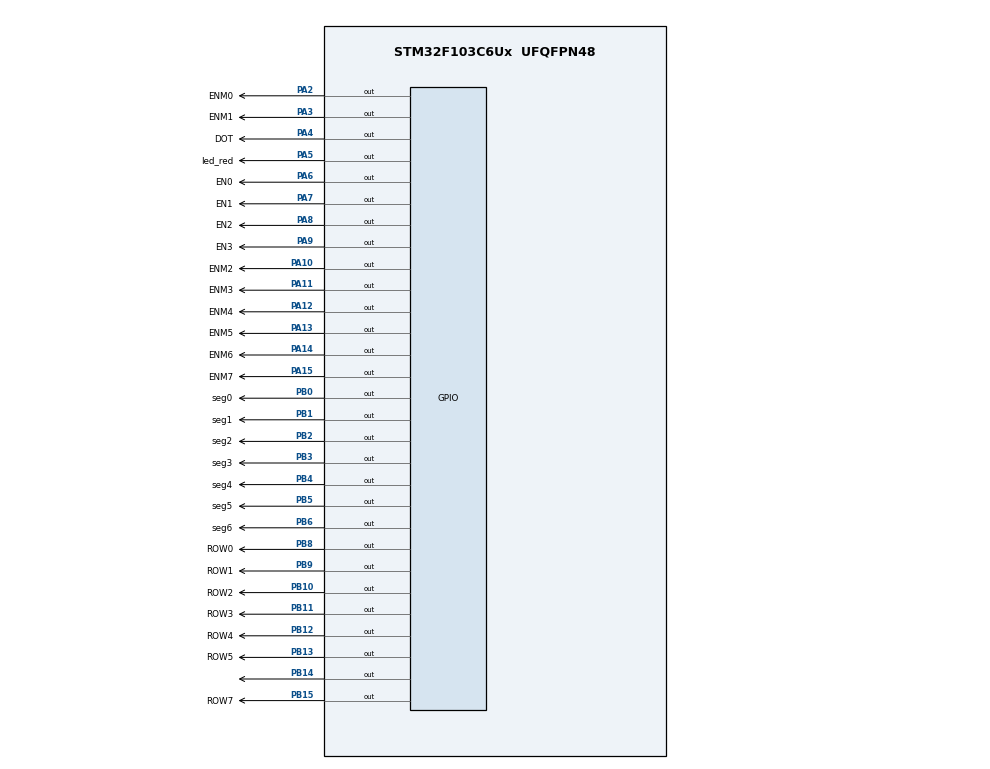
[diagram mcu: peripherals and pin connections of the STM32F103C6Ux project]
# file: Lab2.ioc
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Mcu.Family=STM32F1
Mcu.Name=STM32F103C6Ux
Mcu.Package=UFQFPN48
NVIC.PriorityGroup=NVIC_PRIORITYGROUP_4
NVIC.TIM2_IRQn=true\:0\:0\:false\:false\:true\:true\:true
PA10.GPIO_Label=ENM2
PA10.Signal=GPIO_Output
PA11.GPIO_Label=ENM3
PA11.Signal=GPIO_Output
PA12.GPIO_Label=ENM4
PA12.Signal=GPIO_Output
PA13.GPIO_Label=ENM5
PA13.Signal=GPIO_Output
PA14.GPIO_Label=ENM6
PA14.Signal=GPIO_Output
PA15.GPIO_Label=ENM7
PA15.Signal=GPIO_Output
PA2.GPIO_Label=ENM0
PA2.Signal=GPIO_Output
PA3.GPIO_Label=ENM1
PA3.Signal=GPIO_Output
PA4.GPIO_Label=DOT
PA4.Signal=GPIO_Output
PA5.GPIO_Label=led_red
PA5.Signal=GPIO_Output
PA6.GPIO_Label=EN0
PA6.Signal=GPIO_Output
PA7.GPIO_Label=EN1
PA7.Signal=GPIO_Output
PA8.GPIO_Label=EN2
PA8.Signal=GPIO_Output
PA9.GPIO_Label=EN3
PA9.Signal=GPIO_Output
PB0.GPIO_Label=seg0
PB0.Signal=GPIO_Output
PB1.GPIO_Label=seg1
PB1.Signal=GPIO_Output
PB10.GPIO_Label=ROW2
PB10.Signal=GPIO_Output
PB11.GPIO_Label=ROW3
PB11.Signal=GPIO_Output
PB12.GPIO_Label=ROW4
PB12.Signal=GPIO_Output
PB13.GPIO_Label=ROW5
PB13.Signal=GPIO_Output
PB14.Signal=GPIO_Output
PB15.GPIO_Label=ROW7
PB15.Signal=GPIO_Output
PB2.GPIO_Label=seg2
PB2.Signal=GPIO_Output
PB3.GPIO_Label=seg3
PB3.Signal=GPIO_Output
PB4.GPIO_Label=seg4
PB4.Signal=GPIO_Output
PB5.GPIO_Label=seg5
PB5.Signal=GPIO_Output
PB6.GPIO_Label=seg6
PB6.Signal=GPIO_Output
PB8.GPIO_Label=ROW0
PB8.Signal=GPIO_Output
PB9.GPIO_Label=ROW1
PB9.Signal=GPIO_Output
ProjectManager.HeapSize=0x200
ProjectManager.StackSize=0x400
ProjectManager.TargetToolchain=STM32CubeIDE
RCC.APB1Freq_Value=8000000
RCC.APB2Freq_Value=8000000
TIM2.Period=9
TIM2.Prescaler=7999
VP_SYS_VS_ND.Mode=No_Debug
VP_TIM2_VS_ClockSourceINT.Mode=Internal
board=custom

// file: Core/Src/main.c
/* USER CODE BEGIN Header */
/**
  ******************************************************************************
  * @file           : main.c
  * @brief          : Main program body
  ******************************************************************************
  * @attention
  *
  * <h2><center>&copy; Copyright (c) 2024 STMicroelectronics.
  * All rights reserved.</center></h2>
  *
  * This software component is licensed by ST under BSD 3-Clause license,
  * the "License"; You may not use this file except in compliance with the
  * License. You may obtain a copy of the License at:
  *                        opensource.org/licenses/BSD-3-Clause
  *
  ******************************************************************************
  */
/* USER CODE END Header */
#include "main.h"

/* USER CODE BEGIN Includes */
#include "ex1.h"
#include "ex3.h"
#include "ex5.h"
#include "ex6.h"
#include "ex9.h"
//#include "ex7.h"
/* USER CODE END Includes */

TIM_HandleTypeDef htim2;

void SystemClock_Config(void);
static void MX_GPIO_Init(void);
static void MX_TIM2_Init(void);

/* USER CODE BEGIN 0 */
//int time_flag = 0;
//int counter = 0;
//int counter_dot = 0;
//int time_flag_dot = 0;
//int time_flag_clock = 0;
//int counter_clock = 0;

enum DotState {OFF = 0, ON = 1};
enum DotState dot_status = OFF;
int counter = 25;
int timer_flag = 0;
int timer_counter_dot = 50;
int timer_flag_dot = 0;
int timer_counter_clock = 100;
int timer_flag_clock = 0;
int TIMER_CYCLE = 10;

int counter_led_matrix = 0;
int time_flag_led_matrix = 0;
const int MAX_LED = 4;
//int index_led = 0;
//int Led_buffer[4] = {1, 2, 3, 4};
//int hour = 15, minute = 8, second = 50;
//int TIMER_CYCLE = 1;
const int MAX_LED_MATRIX = 8;
int index_led_matrix = 0;
uint8_t matrix_buffer[8] = {0xFF, 0x03, 0x01, 0xCC, 0xCC, 0x01, 0x03, 0xFF};
/* USER CODE END 0 */

int main(void)
{

  /* MCU Configuration--------------------------------------------------------*/

  /* Reset of all peripherals, Initializes the Flash interface and the Systick. */
  HAL_Init();

  /* Configure the system clock */
  SystemClock_Config();

  /* Initialize all configured peripherals */
  MX_GPIO_Init();
  MX_TIM2_Init();
  /* USER CODE BEGIN 2 */
//  enum DotState {OFF = 0, ON = 1};
//  enum DotState dot_status = OFF;
  HAL_TIM_Base_Start_IT(&htim2);
//  setTimer(250);
//  setTimerClock(1000);
//  setTimerDot(500);
//  setTimerLedMatrix(5);
  /* USER CODE END 2 */

  /* Infinite loop */
  /* USER CODE BEGIN WHILE */
//  ex6_run();
  while (1)
  {
//	  /bai8
if (timer_flag == 1) {
				  updateClockBuffer();
				  update7seg(index_led++);
				  if (index_led > 3) index_led = 0;
//				  update7seg(index_led++);
				  setTimer(250);

			  }

		 if (timer_flag_clock == 1){
				  second++;
				  if ( second >= 60) {
					  second = 0;
					  minute ++;
				  }
				  if( minute >= 60) {
					   minute = 0;
					   hour ++;
				   }
				   if( hour >=24){
					   hour = 0;
				   }
//				   update7seg(idx++);
				  updateClockBuffer();
				  setTimerClock(1000);
			  }

			  switch (dot_status){
			  	  case OFF:
			  		  HAL_GPIO_WritePin(DOT_GPIO_Port, DOT_Pin, GPIO_PIN_SET);

			  		  if (timer_flag_dot == 1){
			  			  setTimerDot(500);
			  			  dot_status = ON;
			  		  }
				  break;

			  	  case ON:
			  		  HAL_GPIO_WritePin(DOT_GPIO_Port, DOT_Pin, GPIO_PIN_RESET);

			  		  if (timer_flag_dot == 1){
			  			  setTimerDot(500);
			  			  dot_status = OFF;
			  		  }
				  break;
			  }
//			  /bai8
	  /*second++;
	  if(second >= 60){
		  second = 0;
		  minute++;
	  }
	  if(minute >= 60){
		  minute = 0;
		  hour++;
	  }
	  if(hour >= 24) hour = 0;
	  updateClockBuffer();

	  if(time_flag == 1){
		  update7seg(index_led++);
		  time_flag = 0;
		  if (index_led > 3) index_led = 0;
		  counter = 100;
	  }

	  switch(dot_status){
	  	  case OFF:
	  		  HAL_GPIO_WritePin(DOT_GPIO_Port, DOT_Pin, GPIO_PIN_SET);
	  		  if(time_flag_dot == 1){
	  			  time_flag_dot = 0;
	  			  counter_dot = 50;
	  			  dot_status = ON;
	  		  }
	  		 break;
	  	  case ON:
	  		  HAL_GPIO_WritePin(DOT_GPIO_Port, DOT_Pin, GPIO_PIN_RESET);
	  		  if(time_flag_dot == 1){
	  			  time_flag_dot = 0;
	  			  counter_dot = 50;
	  			  dot_status = OFF;
	  		  }
	  		 break;
	  }
	  HAL_Delay(1000);*/
    /* USER CODE END WHILE */

  }
}

void SystemClock_Config(void)
{
  RCC_OscInitTypeDef RCC_OscInitStruct = {0};
  RCC_ClkInitTypeDef RCC_ClkInitStruct = {0};

  /** Initializes the RCC Oscillators according to the specified parameters
  * in the RCC_OscInitTypeDef structure.
  */
  RCC_OscInitStruct.OscillatorType = RCC_OSCILLATORTYPE_HSI;
  RCC_OscInitStruct.HSIState = RCC_HSI_ON;
  RCC_OscInitStruct.HSICalibrationValue = RCC_HSICALIBRATION_DEFAULT;
  RCC_OscInitStruct.PLL.PLLState = RCC_PLL_NONE;
  if (HAL_RCC_OscConfig(&RCC_OscInitStruct) != HAL_OK)
  {
    Error_Handler();
  }
  /** Initializes the CPU, AHB and APB buses clocks
  */
  RCC_ClkInitStruct.ClockType = RCC_CLOCKTYPE_HCLK|RCC_CLOCKTYPE_SYSCLK
                              |RCC_CLOCKTYPE_PCLK1|RCC_CLOCKTYPE_PCLK2;
  RCC_ClkInitStruct.SYSCLKSource = RCC_SYSCLKSOURCE_HSI;
  RCC_ClkInitStruct.AHBCLKDivider = RCC_SYSCLK_DIV1;
  RCC_ClkInitStruct.APB1CLKDivider = RCC_HCLK_DIV1;
  RCC_ClkInitStruct.APB2CLKDivider = RCC_HCLK_DIV1;

  if (HAL_RCC_ClockConfig(&RCC_ClkInitStruct, FLASH_LATENCY_0) != HAL_OK)
  {
    Error_Handler();
  }
}

static void MX_TIM2_Init(void)
{

  TIM_ClockConfigTypeDef sClockSourceConfig = {0};
  TIM_MasterConfigTypeDef sMasterConfig = {0};

  htim2.Instance = TIM2;
  htim2.Init.Prescaler = 7999;
  htim2.Init.CounterMode = TIM_COUNTERMODE_UP;
  htim2.Init.Period = 9;
  htim2.Init.ClockDivision = TIM_CLOCKDIVISION_DIV1;
  htim2.Init.AutoReloadPreload = TIM_AUTORELOAD_PRELOAD_DISABLE;
  if (HAL_TIM_Base_Init(&htim2) != HAL_OK)
  {
    Error_Handler();
  }
  sClockSourceConfig.ClockSource = TIM_CLOCKSOURCE_INTERNAL;
  if (HAL_TIM_ConfigClockSource(&htim2, &sClockSourceConfig) != HAL_OK)
  {
    Error_Handler();
  }
  sMasterConfig.MasterOutputTrigger = TIM_TRGO_RESET;
  sMasterConfig.MasterSlaveMode = TIM_MASTERSLAVEMODE_DISABLE;
  if (HAL_TIMEx_MasterConfigSynchronization(&htim2, &sMasterConfig) != HAL_OK)
  {
    Error_Handler();
  }

}

static void MX_GPIO_Init(void)
{
  GPIO_InitTypeDef GPIO_InitStruct = {0};

  /* GPIO Ports Clock Enable */
  __HAL_RCC_GPIOA_CLK_ENABLE();
  __HAL_RCC_GPIOB_CLK_ENABLE();

  /*Configure GPIO pin Output Level */
  HAL_GPIO_WritePin(GPIOA, ENM0_Pin|ENM1_Pin|DOT_Pin|led_red_Pin
                          |EN0_Pin|EN1_Pin|EN2_Pin|EN3_Pin
                          |ENM2_Pin|ENM3_Pin|ENM4_Pin|ENM5_Pin
                          |ENM6_Pin|ENM7_Pin, GPIO_PIN_RESET);

  /*Configure GPIO pin Output Level */
  HAL_GPIO_WritePin(GPIOB, seg0_Pin|seg1_Pin|seg2_Pin|ROW2_Pin
                          |ROW3_Pin|ROW4_Pin|ROW5_Pin|GPIO_PIN_14
                          |ROW7_Pin|seg3_Pin|seg4_Pin|seg5_Pin
                          |seg6_Pin|ROW0_Pin|ROW1_Pin, GPIO_PIN_RESET);

  /*Configure GPIO pins : ENM0_Pin ENM1_Pin DOT_Pin led_red_Pin
                           EN0_Pin EN1_Pin EN2_Pin EN3_Pin
                           ENM2_Pin ENM3_Pin ENM4_Pin ENM5_Pin
                           ENM6_Pin ENM7_Pin */
  GPIO_InitStruct.Pin = ENM0_Pin|ENM1_Pin|DOT_Pin|led_red_Pin
                          |EN0_Pin|EN1_Pin|EN2_Pin|EN3_Pin
                          |ENM2_Pin|ENM3_Pin|ENM4_Pin|ENM5_Pin
                          |ENM6_Pin|ENM7_Pin;
  GPIO_InitStruct.Mode = GPIO_MODE_OUTPUT_PP;
  GPIO_InitStruct.Pull = GPIO_NOPULL;
  GPIO_InitStruct.Speed = GPIO_SPEED_FREQ_LOW;
  HAL_GPIO_Init(GPIOA, &GPIO_InitStruct);

  /*Configure GPIO pins : seg0_Pin seg1_Pin seg2_Pin ROW2_Pin
                           ROW3_Pin ROW4_Pin ROW5_Pin PB14
                           ROW7_Pin seg3_Pin seg4_Pin seg5_Pin
                           seg6_Pin ROW0_Pin ROW1_Pin */
  GPIO_InitStruct.Pin = seg0_Pin|seg1_Pin|seg2_Pin|ROW2_Pin
                          |ROW3_Pin|ROW4_Pin|ROW5_Pin|GPIO_PIN_14
                          |ROW7_Pin|seg3_Pin|seg4_Pin|seg5_Pin
                          |seg6_Pin|ROW0_Pin|ROW1_Pin;
  GPIO_InitStruct.Mode = GPIO_MODE_OUTPUT_PP;
  GPIO_InitStruct.Pull = GPIO_NOPULL;
  GPIO_InitStruct.Speed = GPIO_SPEED_FREQ_LOW;
  HAL_GPIO_Init(GPIOB, &GPIO_InitStruct);

}

/* USER CODE BEGIN 4 */

void HAL_TIM_PeriodElapsedCallback(TIM_HandleTypeDef * htim)
{
	timerRun();
	timerRunDot();
	timerRunClock();
//	TimerRunLedMatrix();
//	counter--;
//	counter_dot--;
//
//	if(counter <= 0) time_flag = 1;
//	if(counter_dot <= 0) time_flag_dot = 1;
}
void setTimer(int duration){
	counter = duration / TIMER_CYCLE;
	timer_flag = 0;
}
void timerRun(){
	if(counter > 0){
		counter--;
		if(counter == 0) timer_flag = 1;
	}
}
void setTimerDot(int duration){
	timer_counter_dot = duration / TIMER_CYCLE;
	timer_flag_dot = 0;
}
void timerRunDot(){
	if(timer_counter_dot > 0){
		timer_counter_dot--;
		if(timer_counter_dot == 0) timer_flag_dot = 1;
	}
}
void setTimerClock(int duration){
	timer_counter_clock = duration / TIMER_CYCLE;
	timer_flag_clock = 0;
}
void timerRunClock(){
	if(timer_counter_clock > 0){
		timer_counter_clock--;
		if(timer_counter_clock == 0) timer_flag_clock = 1;
	}
}
/*void updateClockBuffer(){
	Led_buffer[0] = hour / 10;
	Led_buffer[1] = hour % 10;
	Led_buffer[2] = minute / 10;
	Led_buffer[3] = minute % 10;
}*/

/* USER CODE END 4 */

void Error_Handler(void)
{
  __disable_irq();
  while (1)
  {
  }
}

/************************ (C) COPYRIGHT STMicroelectronics *****END OF FILE****/
